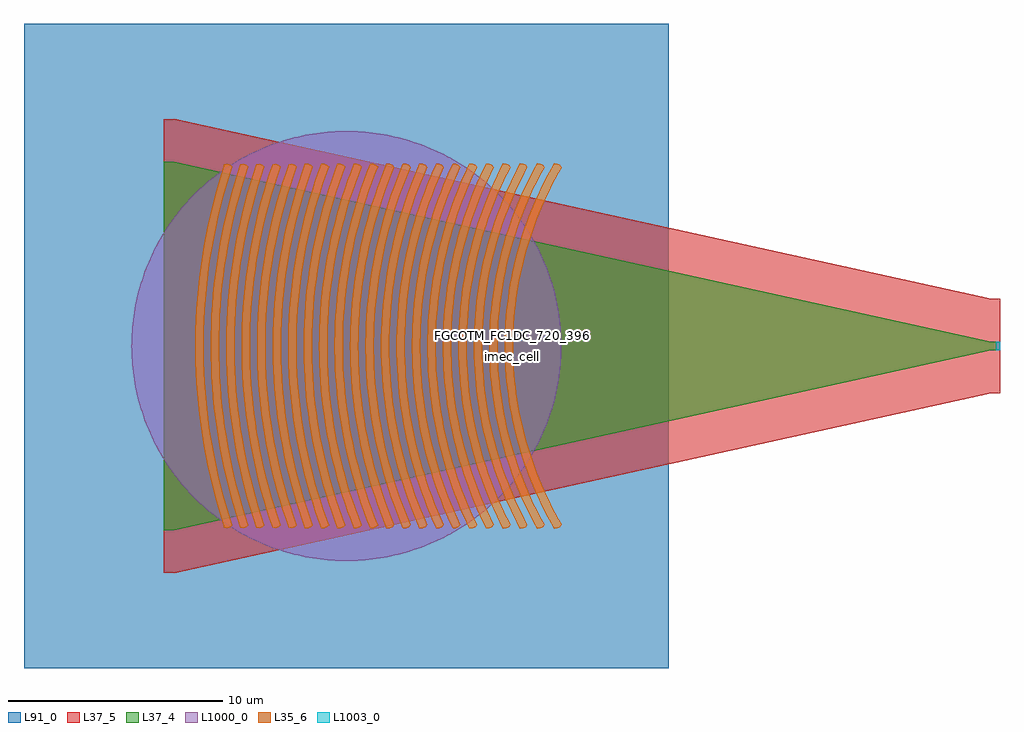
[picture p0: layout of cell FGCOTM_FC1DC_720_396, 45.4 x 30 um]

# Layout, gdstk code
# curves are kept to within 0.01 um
import gdstk
lib = gdstk.Library(unit=1e-6, precision=1e-09)
def R(c, l, rs):  # rectangles x0, y0, x1, y1
    for r in rs: c.add(gdstk.rectangle(r[:2], r[2:], *l))
def P(c, l, *ps):  # polygons
    for p in ps: c.add(gdstk.Polygon(p, *l))
L35_6 = (35, 6)
L37_4 = (37, 4)
L37_5 = (37, 5)
L91_0 = (91, 0)
L1000_0 = (1000, 0)
L1003_0 = (1003, 0)

fgcotm_fc1dc_720_396 = lib.new_cell('FGCOTM_FC1DC_720_396')
P(fgcotm_fc1dc_720_396, L35_6, [(9.664,-8.498),(9.369,-7.969),(9.092,-7.429),(8.714,-6.603),(8.487,-6.042),(8.28,-5.474),(8.008,-4.61),(7.783,-3.733),(7.659,-3.143),(7.557,-2.549),(7.476,-1.952),(7.417,-1.353),(7.379,-0.752),(7.363,-0.15),(7.368,0.451),(7.395,1.053),(7.476,1.952),(7.557,2.549),(7.659,3.143),(7.783,3.733),(7.928,4.319),(8.093,4.899),(8.28,5.474),(8.487,6.042),(8.714,6.603),(9.092,7.429),(9.369,7.969),(9.664,8.498),(9.812,8.489),(9.925,8.424),(10.008,8.302),(9.718,7.782),(9.448,7.255),(9.078,6.447),(8.856,5.9),(8.654,5.345),(8.472,4.784),(8.31,4.217),(8.169,3.645),(8.048,3.069),(7.906,2.198),(7.811,1.321),(7.759,0.147),(7.764,-0.441),(7.79,-1.028),(7.869,-1.906),(7.996,-2.779),(8.169,-3.645),(8.31,-4.217),(8.472,-4.784),(8.654,-5.345),(8.856,-5.9),(9.078,-6.447),(9.448,-7.255),(9.718,-7.782),(10.008,-8.302),(9.925,-8.424),(9.812,-8.489)],
  [(8.864,-8.495),(8.429,-7.665),(8.163,-7.098),(7.918,-6.524),(7.694,-5.941),(7.491,-5.352),(7.226,-4.456),(7.01,-3.548),(6.894,-2.937),(6.799,-2.322),(6.726,-1.705),(6.676,-1.086),(6.643,-0.155),(6.659,0.776),(6.699,1.396),(6.76,2.014),(6.843,2.63),(6.949,3.243),(7.077,3.852),(7.226,4.456),(7.491,5.352),(7.694,5.941),(7.918,6.524),(8.163,7.098),(8.429,7.665),(8.864,8.495),(9.012,8.488),(9.126,8.426),(9.212,8.305),(8.784,7.49),(8.525,6.937),(8.285,6.375),(7.964,5.518),(7.776,4.939),(7.609,4.354),(7.463,3.763),(7.338,3.168),(7.191,2.269),(7.121,1.666),(7.071,1.061),(7.039,0.152),(7.055,-0.758),(7.121,-1.666),(7.235,-2.57),(7.398,-3.466),(7.533,-4.059),(7.69,-4.647),(7.868,-5.229),(8.066,-5.806),(8.285,-6.375),(8.652,-7.214),(8.922,-7.764),(9.212,-8.305),(9.126,-8.426),(9.012,-8.488)],
  [(8.07,-8.492),(7.774,-7.919),(7.499,-7.334),(7.126,-6.441),(6.802,-5.53),(6.614,-4.914),(6.447,-4.293),(6.24,-3.351),(6.131,-2.718),(6.044,-2.081),(5.957,-1.122),(5.923,-0.16),(5.929,0.481),(5.957,1.122),(6.044,2.081),(6.131,2.718),(6.24,3.351),(6.447,4.293),(6.614,4.914),(6.802,5.53),(7.126,6.441),(7.499,7.334),(7.774,7.919),(8.07,8.492),(8.218,8.488),(8.333,8.427),(8.42,8.308),(7.992,7.459),(7.612,6.591),(7.279,5.706),(7.084,5.107),(6.91,4.502),(6.759,3.891),(6.629,3.276),(6.477,2.346),(6.375,1.41),(6.336,0.784),(6.319,0.157),(6.336,-0.784),(6.375,-1.41),(6.438,-2.035),(6.522,-2.657),(6.629,-3.276),(6.832,-4.197),(7.084,-5.107),(7.279,-5.706),(7.496,-6.298),(7.86,-7.172),(8.13,-7.744),(8.42,-8.308),(8.333,-8.427),(8.218,-8.488)],
  [(7.28,-8.49),(6.843,-7.588),(6.455,-6.664),(6.225,-6.038),(6.017,-5.405),(5.749,-4.442),(5.533,-3.468),(5.371,-2.484),(5.293,-1.824),(5.239,-1.162),(5.203,-0.166),(5.209,0.498),(5.239,1.162),(5.329,2.154),(5.473,3.141),(5.671,4.119),(5.832,4.765),(6.017,5.405),(6.337,6.352),(6.708,7.282),(6.984,7.892),(7.28,8.49),(7.429,8.487),(7.544,8.429),(7.634,8.31),(7.204,7.425),(6.824,6.521),(6.599,5.908),(6.395,5.288),(6.133,4.346),(5.922,3.393),(5.811,2.752),(5.722,2.108),(5.634,1.137),(5.599,0.162),(5.616,-0.812),(5.658,-1.461),(5.722,-2.108),(5.864,-3.073),(6.057,-4.03),(6.215,-4.662),(6.395,-5.288),(6.709,-6.215),(6.946,-6.824),(7.204,-7.425),(7.634,-8.31),(7.544,-8.429),(7.429,-8.487)],
  [(6.496,-8.487),(6.064,-7.565),(5.682,-6.621),(5.456,-5.981),(5.253,-5.335),(4.992,-4.353),(4.784,-3.36),(4.63,-2.358),(4.53,-1.35),(4.494,-0.675),(4.482,0),(4.494,0.675),(4.53,1.35),(4.63,2.358),(4.784,3.36),(4.917,4.023),(5.073,4.682),(5.253,5.335),(5.456,5.981),(5.682,6.621),(5.931,7.252),(6.203,7.875),(6.496,8.487),(6.644,8.487),(6.761,8.43),(6.851,8.313),(6.563,7.71),(6.297,7.1),(6.053,6.482),(5.832,5.856),(5.542,4.904),(5.377,4.262),(5.236,3.615),(5.068,2.636),(4.952,1.651),(4.89,0.661),(4.878,0),(4.89,-0.661),(4.925,-1.321),(5.023,-2.308),(5.174,-3.29),(5.377,-4.262),(5.542,-4.904),(5.729,-5.54),(6.053,-6.482),(6.427,-7.407),(6.851,-8.313),(6.761,-8.43),(6.644,-8.487)],
  [(5.863,-8.487),(5.715,-8.485),(5.42,-7.846),(5.147,-7.196),(4.898,-6.537),(4.673,-5.87),(4.473,-5.197),(4.296,-4.517),(4.079,-3.486),(3.917,-2.447),(3.813,-1.401),(3.775,-0.701),(3.762,0),(3.775,0.701),(3.813,1.401),(3.917,2.447),(4.079,3.486),(4.296,4.517),(4.473,5.197),(4.673,5.87),(4.898,6.537),(5.147,7.196),(5.42,7.846),(5.715,8.485),(5.863,8.487),(5.981,8.431),(6.073,8.315),(5.782,7.686),(5.515,7.049),(5.158,6.078),(4.854,5.091),(4.682,4.424),(4.533,3.753),(4.357,2.737),(4.27,2.056),(4.186,1.029),(4.158,0),(4.186,-1.029),(4.27,-2.056),(4.357,-2.737),(4.533,-3.753),(4.682,-4.424),(4.854,-5.091),(5.158,-6.078),(5.515,-7.049),(5.782,-7.686),(6.073,-8.315),(5.981,-8.431)],
  [(5.086,-8.486),(4.938,-8.482),(4.646,-7.828),(4.376,-7.163),(4.131,-6.49),(3.909,-5.809),(3.624,-4.774),(3.465,-4.077),(3.331,-3.375),(3.177,-2.315),(3.081,-1.248),(3.043,-0.178),(3.049,0.535),(3.081,1.248),(3.177,2.315),(3.331,3.375),(3.541,4.426),(3.713,5.12),(3.909,5.809),(4.131,6.49),(4.376,7.163),(4.646,7.828),(4.938,8.482),(5.086,8.486),(5.204,8.432),(5.298,8.318),(4.875,7.348),(4.505,6.361),(4.189,5.356),(4.008,4.679),(3.852,3.996),(3.665,2.962),(3.533,1.921),(3.458,0.874),(3.439,0.175),(3.458,-0.874),(3.533,-1.921),(3.665,-2.962),(3.784,-3.652),(4.008,-4.679),(4.189,-5.356),(4.394,-6.028),(4.622,-6.692),(4.875,-7.348),(5.298,-8.318),(5.204,-8.432)],
  [(4.313,-8.486),(4.165,-8.48),(3.874,-7.811),(3.608,-7.13),(3.253,-6.094),(3.048,-5.394),(2.868,-4.688),(2.646,-3.618),(2.481,-2.539),(2.403,-1.816),(2.351,-1.09),(2.322,0),(2.351,1.09),(2.403,1.816),(2.481,2.539),(2.646,3.618),(2.868,4.688),(3.048,5.394),(3.253,6.094),(3.608,7.13),(3.874,7.811),(4.165,8.48),(4.313,8.486),(4.431,8.433),(4.527,8.32),(4.107,7.327),(3.857,6.655),(3.631,5.976),(3.339,4.944),(3.175,4.248),(3.036,3.548),(2.921,2.843),(2.798,1.78),(2.747,1.069),(2.718,0),(2.731,-0.713),(2.798,-1.78),(2.921,-2.843),(3.036,-3.548),(3.175,-4.248),(3.339,-4.944),(3.631,-5.976),(3.857,-6.655),(4.107,-7.327),(4.527,-8.32),(4.431,-8.433)],
  [(3.542,-8.485),(3.394,-8.478),(3.1,-7.777),(2.831,-7.065),(2.587,-6.345),(2.37,-5.617),(2.095,-4.512),(1.88,-3.395),(1.726,-2.268),(1.633,-1.136),(1.602,0),(1.633,1.136),(1.726,2.268),(1.88,3.395),(2.095,4.512),(2.37,5.617),(2.587,6.345),(2.831,7.065),(3.1,7.777),(3.394,8.478),(3.542,8.485),(3.661,8.434),(3.758,8.322),(3.332,7.282),(3.081,6.58),(2.855,5.869),(2.565,4.789),(2.334,3.697),(2.213,2.963),(2.082,1.855),(2.011,0.743),(1.998,0),(2.011,-0.743),(2.082,-1.855),(2.213,-2.963),(2.334,-3.697),(2.565,-4.789),(2.855,-5.869),(3.081,-6.58),(3.332,-7.282),(3.758,-8.322),(3.661,-8.434)],
  [(2.774,-8.485),(2.626,-8.476),(2.197,-7.395),(1.826,-6.291),(1.612,-5.546),(1.425,-4.794),(1.196,-3.656),(1.029,-2.507),(0.925,-1.352),(0.883,-0.193),(0.904,0.966),(0.988,2.123),(1.134,3.274),(1.342,4.416),(1.612,5.546),(1.826,6.291),(2.067,7.029),(2.334,7.758),(2.626,8.476),(2.774,8.485),(2.894,8.435),(2.992,8.324),(2.703,7.615),(2.441,6.899),(2.096,5.81),(1.811,4.705),(1.587,3.588),(1.47,2.837),(1.347,1.706),(1.299,0.948),(1.279,0.19),(1.299,-0.948),(1.347,-1.706),(1.47,-2.837),(1.587,-3.588),(1.811,-4.705),(2.096,-5.81),(2.441,-6.899),(2.703,-7.615),(2.992,-8.324),(2.894,-8.435)],
  [(2.009,-8.485),(1.861,-8.475),(1.434,-7.366),(1.066,-6.236),(0.855,-5.472),(0.672,-4.703),(0.449,-3.538),(0.29,-2.364),(0.194,-1.184),(0.162,0),(0.194,1.184),(0.29,2.364),(0.449,3.538),(0.672,4.703),(0.855,5.472),(1.066,6.236),(1.434,7.366),(1.861,8.475),(2.009,8.485),(2.129,8.436),(2.228,8.325),(1.807,7.233),(1.446,6.123),(1.239,5.374),(1.059,4.618),(0.84,3.474),(0.729,2.707),(0.645,1.936),(0.589,1.162),(0.558,0),(0.589,-1.162),(0.645,-1.936),(0.729,-2.707),(0.84,-3.474),(1.059,-4.618),(1.239,-5.374),(1.446,-6.123),(1.807,-7.233),(2.228,-8.325),(2.129,-8.436)],
  [(1.246,-8.484),(1.098,-8.473),(0.673,-7.336),(0.423,-6.566),(0.2,-5.788),(-0.08,-4.608),(-0.231,-3.815),(-0.405,-2.616),(-0.514,-1.411),(-0.557,-0.202),(-0.535,1.008),(-0.448,2.215),(-0.296,3.416),(-0.08,4.608),(0.2,5.788),(0.423,6.566),(0.673,7.336),(1.098,8.473),(1.246,8.484),(1.367,8.437),(1.467,8.327),(1.047,7.207),(0.689,6.069),(0.393,4.915),(0.159,3.748),(-0.012,2.57),(-0.09,1.781),(-0.14,0.99),(-0.161,0.198),(-0.14,-0.99),(-0.09,-1.781),(-0.012,-2.57),(0.095,-3.356),(0.308,-4.527),(0.583,-5.686),(0.801,-6.45),(1.047,-7.207),(1.467,-8.327),(1.367,-8.437)],
  [(0.485,-8.484),(0.338,-8.471),(-0.087,-7.305),(-0.449,-6.118),(-0.654,-5.317),(-0.831,-4.51),(-1.041,-3.289),(-1.145,-2.47),(-1.245,-1.237),(-1.278,0),(-1.245,1.237),(-1.145,2.47),(-1.041,3.289),(-0.831,4.51),(-0.654,5.317),(-0.449,6.118),(-0.087,7.305),(0.338,8.471),(0.485,8.484),(0.607,8.437),(0.707,8.329),(0.289,7.179),(-0.067,6.012),(-0.359,4.829),(-0.588,3.633),(-0.704,2.83),(-0.824,1.62),(-0.867,0.81),(-0.882,0),(-0.867,-0.81),(-0.824,-1.62),(-0.704,-2.83),(-0.588,-3.633),(-0.359,-4.829),(-0.067,-6.012),(0.289,-7.179),(0.707,-8.329),(0.607,-8.437)],
  [(-0.273,-8.484),(-0.421,-8.469),(-0.845,-7.273),(-1.204,-6.055),(-1.498,-4.821),(-1.656,-3.991),(-1.838,-2.737),(-1.952,-1.476),(-1.997,-0.211),(-1.974,1.055),(-1.921,1.897),(-1.785,3.156),(-1.581,4.407),(-1.31,5.645),(-1.092,6.463),(-0.845,7.273),(-0.421,8.469),(-0.273,8.484),(-0.152,8.438),(-0.05,8.331),(-0.468,7.151),(-0.822,5.953),(-1.11,4.74),(-1.333,3.514),(-1.445,2.691),(-1.526,1.865),(-1.579,1.037),(-1.601,0.207),(-1.594,-0.622),(-1.556,-1.451),(-1.445,-2.691),(-1.333,-3.514),(-1.11,-4.74),(-0.822,-5.953),(-0.468,-7.151),(-0.05,-8.331),(-0.152,-8.438)],
  [(-1.03,-8.483),(-1.177,-8.468),(-1.601,-7.239),(-1.959,-5.99),(-2.249,-4.724),(-2.469,-3.445),(-2.621,-2.158),(-2.683,-1.296),(-2.718,0),(-2.683,1.296),(-2.621,2.158),(-2.469,3.445),(-2.249,4.724),(-1.959,5.99),(-1.601,7.239),(-1.177,8.468),(-1.03,8.483),(-0.908,8.439),(-0.806,8.332),(-1.224,7.12),(-1.575,5.891),(-1.86,4.646),(-2.077,3.389),(-2.184,2.545),(-2.261,1.698),(-2.307,0.85),(-2.322,0),(-2.307,-0.85),(-2.261,-1.698),(-2.184,-2.545),(-2.077,-3.389),(-1.86,-4.646),(-1.575,-5.891),(-1.224,-7.12),(-0.806,-8.332),(-0.908,-8.439)],
  [(-1.785,-8.483),(-1.933,-8.466),(-2.357,-7.205),(-2.713,-5.921),(-2.998,-4.622),(-3.15,-3.749),(-3.317,-2.431),(-3.389,-1.548),(-3.437,-0.221),(-3.429,0.664),(-3.357,1.99),(-3.213,3.311),(-2.998,4.622),(-2.713,5.921),(-2.357,7.205),(-1.933,8.466),(-1.785,8.483),(-1.663,8.439),(-1.559,8.334),(-1.846,7.505),(-2.219,6.249),(-2.43,5.401),(-2.688,4.119),(-2.821,3.257),(-2.923,2.392),(-2.994,1.523),(-3.041,0.218),(-3.033,-0.653),(-2.994,-1.523),(-2.923,-2.392),(-2.821,-3.257),(-2.609,-4.548),(-2.328,-5.826),(-1.978,-7.088),(-1.559,-8.334),(-1.663,-8.439)],
  [(-2.539,-8.483),(-2.686,-8.465),(-3.111,-7.168),(-3.465,-5.85),(-3.747,-4.516),(-3.957,-3.169),(-4.055,-2.266),(-4.142,-0.908),(-4.158,0),(-4.142,0.908),(-4.055,2.266),(-3.957,3.169),(-3.747,4.516),(-3.465,5.85),(-3.111,7.168),(-2.686,8.465),(-2.539,8.483),(-2.416,8.44),(-2.312,8.335),(-2.731,7.055),(-2.972,6.192),(-3.273,4.884),(-3.503,3.562),(-3.616,2.675),(-3.697,1.785),(-3.746,0.893),(-3.762,0),(-3.746,-0.893),(-3.697,-1.785),(-3.616,-2.675),(-3.503,-3.562),(-3.273,-4.884),(-2.972,-6.192),(-2.731,-7.055),(-2.312,-8.335),(-2.416,-8.44)],
  [(-3.291,-8.482),(-3.438,-8.464),(-3.854,-7.165),(-4.2,-5.847),(-4.476,-4.512),(-4.621,-3.616),(-4.777,-2.264),(-4.842,-1.36),(-4.878,0),(-4.842,1.36),(-4.777,2.264),(-4.621,3.616),(-4.476,4.512),(-4.2,5.847),(-3.854,7.165),(-3.438,8.464),(-3.291,8.482),(-3.168,8.441),(-3.063,8.336),(-3.474,7.055),(-3.709,6.191),(-3.913,5.32),(-4.087,4.443),(-4.229,3.56),(-4.383,2.229),(-4.466,0.893),(-4.482,0),(-4.466,-0.893),(-4.383,-2.229),(-4.229,-3.56),(-4.087,-4.443),(-3.913,-5.32),(-3.709,-6.191),(-3.474,-7.055),(-3.063,-8.336),(-3.168,-8.441)],
  [(-4.042,-8.482),(-4.188,-8.462),(-4.474,-7.575),(-4.844,-6.225),(-5.141,-4.859),(-5.365,-3.48),(-5.472,-2.555),(-5.547,-1.628),(-5.597,-0.233),(-5.589,0.698),(-5.514,2.092),(-5.365,3.48),(-5.224,4.401),(-4.951,5.772),(-4.606,7.127),(-4.188,8.462),(-4.042,8.482),(-3.918,8.441),(-3.813,8.338),(-4.225,7.019),(-4.46,6.131),(-4.663,5.235),(-4.834,4.334),(-4.972,3.427),(-5.119,2.06),(-5.176,1.145),(-5.201,0.229),(-5.193,-0.687),(-5.152,-1.603),(-5.078,-2.516),(-4.972,-3.427),(-4.752,-4.785),(-4.46,-6.131),(-4.225,-7.019),(-3.813,-8.338),(-3.918,-8.441)],
  [(-4.791,-8.482),(-4.938,-8.461),(-5.225,-7.548),(-5.595,-6.16),(-5.889,-4.754),(-6.108,-3.337),(-6.211,-2.386),(-6.301,-0.955),(-6.318,0),(-6.301,0.955),(-6.211,2.386),(-6.108,3.337),(-5.889,4.754),(-5.595,6.16),(-5.225,7.548),(-4.938,8.461),(-4.791,8.482),(-4.667,8.442),(-4.561,8.339),(-4.975,6.982),(-5.21,6.068),(-5.411,5.147),(-5.58,4.219),(-5.715,3.287),(-5.816,2.351),(-5.884,1.411),(-5.922,0),(-5.884,-1.411),(-5.816,-2.351),(-5.715,-3.287),(-5.58,-4.219),(-5.411,-5.147),(-5.21,-6.068),(-4.975,-6.982),(-4.561,-8.339),(-4.667,-8.442)],
  [(-5.539,-8.482),(-5.686,-8.46),(-5.834,-7.992),(-6.23,-6.569),(-6.549,-5.128),(-6.788,-3.673),(-6.903,-2.697),(-7.01,-1.227),(-7.037,-0.246),(-7.028,0.737),(-6.948,2.208),(-6.788,3.673),(-6.637,4.644),(-6.345,6.09),(-5.975,7.52),(-5.686,8.46),(-5.539,8.482),(-5.415,8.442),(-5.308,8.34),(-5.594,7.41),(-5.846,6.473),(-6.064,5.528),(-6.326,4.098),(-6.457,3.139),(-6.553,2.175),(-6.615,1.209),(-6.641,0.242),(-6.632,-0.726),(-6.588,-1.693),(-6.457,-3.139),(-6.326,-4.098),(-6.16,-5.053),(-5.846,-6.473),(-5.594,-7.41),(-5.308,-8.34),(-5.415,-8.442)])
R(fgcotm_fc1dc_720_396, L37_4, [(30,-0.19,30.2,0.19), (30.2,-0.19,30.4,0.19)])
P(fgcotm_fc1dc_720_396, L37_4, [(-8,-8.577),(-8,8.577),(30,0.19),(30,-0.19)],
  [(-8.5,-8.602),(-8.5,8.602),(-8,8.577),(-8,-8.577)])
R(fgcotm_fc1dc_720_396, L37_5, [(30,-2.19,30.2,2.19), (30.2,-2.19,30.4,2.19)])
P(fgcotm_fc1dc_720_396, L37_5, [(-8,-10.577),(-8,10.577),(30,2.19),(30,-2.19)],
  [(-8,-10.577),(-8.5,-10.552),(-8.5,10.552),(-8,10.577)])
R(fgcotm_fc1dc_720_396, L91_0, [(-15,-15,15,15), (-15,-15,15,15), (-15,-15,15,15), (-15,-15,15,15), (-15,-15,15,15), (-15,-15,15,15), (-15,-15,15,15), (-15,-15,15,15), (-15,-15,15,15)])
P(fgcotm_fc1dc_720_396, L1000_0, [(0,-10),(-0.872,-9.962),(-1.392,-9.903),(-1.908,-9.816),(-2.756,-9.613),(-3.256,-9.455),(-3.746,-9.272),(-4.54,-8.91),(-5,-8.66),(-5.446,-8.387),(-5.878,-8.09),(-6.293,-7.771),(-6.691,-7.431),(-7.071,-7.071),(-7.431,-6.691),(-7.771,-6.293),(-8.09,-5.878),(-8.387,-5.446),(-8.66,-5),(-8.91,-4.54),(-9.272,-3.746),(-9.455,-3.256),(-9.613,-2.756),(-9.816,-1.908),(-9.903,-1.392),(-9.962,-0.872),(-10,0),(-9.962,0.872),(-9.903,1.392),(-9.816,1.908),(-9.613,2.756),(-9.455,3.256),(-9.272,3.746),(-8.91,4.54),(-8.66,5),(-8.387,5.446),(-8.09,5.878),(-7.771,6.293),(-7.431,6.691),(-7.071,7.071),(-6.691,7.431),(-6.293,7.771),(-5.878,8.09),(-5.446,8.387),(-5,8.66),(-4.54,8.91),(-3.746,9.272),(-3.256,9.455),(-2.756,9.613),(-1.908,9.816),(-1.392,9.903),(-0.872,9.962),(0,10),(0.872,9.962),(1.392,9.903),(1.908,9.816),(2.756,9.613),(3.256,9.455),(3.746,9.272),(4.54,8.91),(5,8.66),(5.446,8.387),(5.878,8.09),(6.293,7.771),(6.691,7.431),(7.071,7.071),(7.431,6.691),(7.771,6.293),(8.09,5.878),(8.387,5.446),(8.66,5),(8.91,4.54),(9.272,3.746),(9.455,3.256),(9.613,2.756),(9.816,1.908),(9.903,1.392),(9.962,0.872),(10,0),(9.962,-0.872),(9.903,-1.392),(9.816,-1.908),(9.613,-2.756),(9.455,-3.256),(9.272,-3.746),(8.91,-4.54),(8.66,-5),(8.387,-5.446),(8.09,-5.878),(7.771,-6.293),(7.431,-6.691),(7.071,-7.071),(6.691,-7.431),(6.293,-7.771),(5.878,-8.09),(5.446,-8.387),(5,-8.66),(4.54,-8.91),(3.746,-9.272),(3.256,-9.455),(2.756,-9.613),(1.908,-9.816),(1.392,-9.903),(0.872,-9.962)])
R(fgcotm_fc1dc_720_396, L1003_0, [(30.2,-0.19,30.4,0.19)])
fgcotm_fc1dc_720_396.add(gdstk.Label('FGCOTM_FC1DC_720_396', (7.7,0.5), layer=1002, texttype=0))
fgcotm_fc1dc_720_396.add(gdstk.Label('ISIPP50G_2_3_0', (7.7,0), layer=1002, texttype=0))
fgcotm_fc1dc_720_396.add(gdstk.Label('imec_cell', (7.7,-0.5), layer=1002, texttype=0))

lib.write_gds('FGCOTM_FC1DC_720_396.gds')
